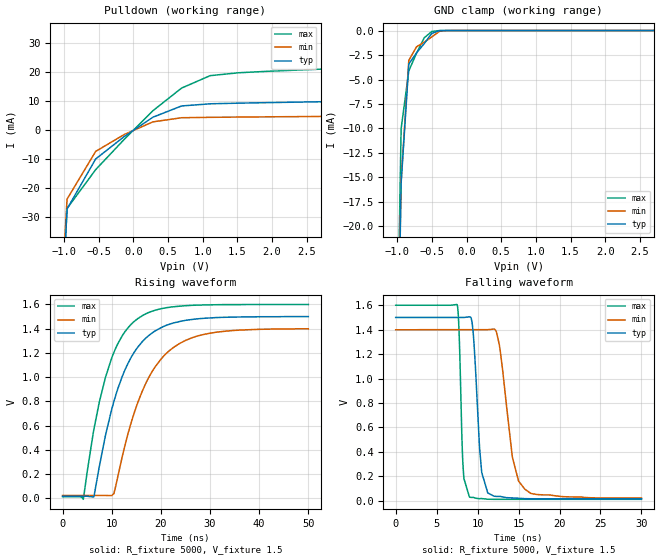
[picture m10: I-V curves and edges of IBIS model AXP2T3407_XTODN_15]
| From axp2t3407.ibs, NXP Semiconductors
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|   Model AXP2T3407_XTODN_15
[Model]   AXP2T3407_XTODN_15
Model_type   Open_drain
Polarity   Non-Inverting
Vmeas =  0.75V
Cref  =  5e-12
Rref  =  10e+3
Vref  =  1.5V
C_comp   1.0430pF   0.8950pF   1.0430pF
[Model Spec]
| Note: The input and output voltage ratings may be exceeded if the input and
|   output current ratings are observed (please refer to the data sheet)
|   Subparameter   typ   min   max
| Timing Thresholds
Vmeas   0.75   0.7   0.8
|Ambient temperature:   25   85   -40
[Temperature Range]   30   90   -35
[Voltage Range]   1.5   1.4   1.6
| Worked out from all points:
|   slope of the pulldown table from 0 to 0.225 V, typ, clamps not added: 61.9 ohm
|   GND clamp passes 1 mA (typ) near -0.58 V on its own axis
|   rising waveform, R_fixture 5000, V_fixture 1.5: 20-80 % time 6.82ns typ, 7.66ns min, 5.89ns max; typ from 0.017 V to 1.5 V
|   falling waveform, R_fixture 5000, V_fixture 1.5: 20-80 % time 760ps typ, 1.52ns min, 401ps max; typ from 1.5 V to 0.017 V
|Process Range   nominal   slow   fast
[GND_clamp]
|   voltage   I(typ)   I(min)   I(max)
-5.5V     -2.957A    -2.756A    -3.17A
-1.056V   -61.76mA   -55.78mA   -55.53mA
-944.4mV  -15.58mA   -15.38mA   -10.03mA
-833.3mV  -3.412mA   -3.047mA   -4.112mA
-722.2mV  -2.287mA   -1.662mA   -2.321mA
-611.1mV  -1.33mA    -1.186mA   -742.4uA
-500mV    -281.9uA   -644uA     -90.52uA
-388.9mV  -19.05uA   -70.75uA   -2.215uA
-277.8mV  -361.8nA   -2.29uA    -18.11nA
11V       0A         0A         0A
[Pulldown]
|   voltage   I(typ)   I(min)   I(max)
-5.5V     -2.957A    -2.756A    -3.171A
-1.156V   -119mA     -107mA     -119mA
-958mV    -27.4mA    -24mA      -27.2mA
-545mV    -10.1mA    -7.48mA    -13.8mA
-132mV    -2.33mA    -1.63mA    -3.3mA
281mV     4.34mA     2.72mA     6.58mA
694mV     8.22mA     4.15mA     14.4mA
1.107V    8.97mA     4.29mA     18.7mA
5.236V    11mA       5.23mA     23.6mA
6.887V    13.5mA     6.5mA      28.5mA
8.126V    17mA       8.18mA     35.3mA
11V       29.6mA     14.3mA     59.6mA
[Ramp]
| variable   typ   min   max
dV/dt_r  8.9730E-01/6.9090E-09  8.3080E-01/7.7230E-09  9.6910E-01/5.9830E-09
dV/dt_f  8.9730E-01/7.3940E-10  8.3080E-01/1.4370E-09  9.6910E-01/4.1230E-10
R_load = 5000
[Rising Waveform]
R_fixture   = 5000
V_fixture   = 1.5
V_fixture_min = 1.4
V_fixture_max = 1.6
| time   V(typ)   V(min)   V(max)
0s        16.84mV    23.35mV    12.38mV
4.24ns    16.84mV    23.35mV    -5.907mV
6.36ns    13.57mV    23.35mV    566.5mV
8.72ns    518.5mV    23.29mV    997.6mV
10.44ns   798.9mV    38.57mV    1.204V
12.48ns   1.04V      401.2mV    1.363V
15ns      1.231V     756.2mV    1.474V
18.76ns   1.38V      1.081V     1.552V
25ns      1.469V     1.303V     1.59V
50ns      1.5V       1.399V     1.6V
[Falling Waveform]
R_fixture   = 5000
V_fixture   = 1.5
V_fixture_min = 1.4
V_fixture_max = 1.6
| time   V(typ)   V(min)   V(max)
0s        1.5V       1.399V     1.6V
7.5ns     1.5V       1.4V       1.604V
8.24ns    1.5V       1.4V       263.8mV
9ns       1.505V     1.4V       31.05mV
10.5ns    232mV      1.4V       18.61mV
11.24ns   64.74mV    1.4V       13.15mV
12.3ns    36.36mV    1.381V     12.47mV
14.24ns   23.67mV    358.5mV    12.38mV
15.76ns   17.88mV    95.85mV    12.38mV
30ns      16.84mV    23.35mV    12.38mV
